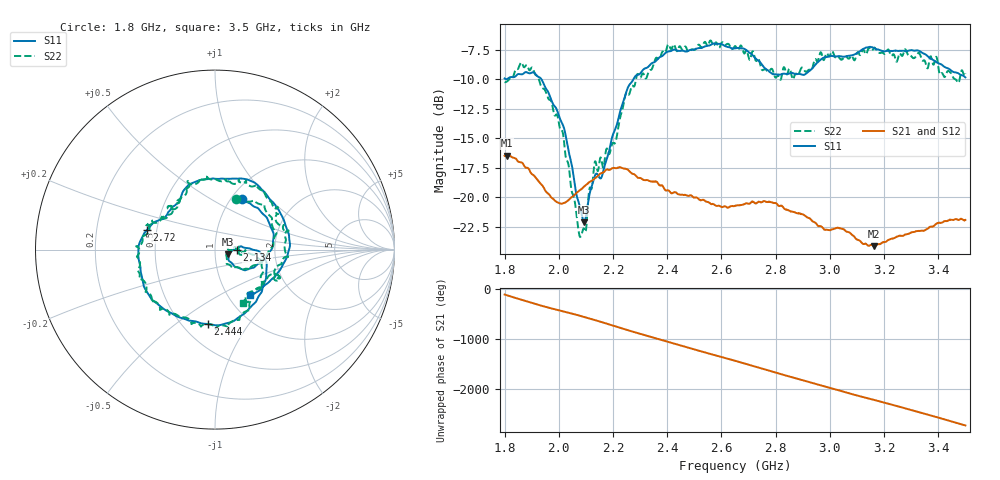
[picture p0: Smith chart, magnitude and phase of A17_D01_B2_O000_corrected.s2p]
! Created with skrf 1.9.0 (http://scikit-rf.org).
# Hz S RI R 50.0
!freq ReS11 ImS11 ReS21 ImS21 ReS12 ImS12 ReS22 ImS22
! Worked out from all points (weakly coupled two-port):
!   1601 points, 1.8 GHz to 3.5 GHz, reference 50 ohm
!   highest |S21| = -16.48 dB at 1.808 GHz (marker M1); lowest = -24.2 dB at 3.162 GHz (marker M2)
!   lowest |S11| = -22.1 dB at 2.093 GHz (marker M3), VSWR 1.17, Z = 57.9 - j3 ohm
!   |S11| at or under -10 dB: 1.806214 GHz to 1.80674 GHz (525.4 kHz wide, 0.0291 % of centre); 1.936 GHz to 2.275 GHz (339.6 MHz wide, 16.1 % of centre)
!   |S22| runs from -23.4 to -6.7 dB; largest |S21 - S12| = 0.0029
!   S11 on the Smith chart (normalised r, x): 1.8 GHz: 1.12, +0.70; 2.134 GHz: 1.28, -0.01; 2.444 GHz: 0.66, -0.66; 2.72 GHz: 0.44, +0.11; 3.5 GHz: 1.26, -0.72
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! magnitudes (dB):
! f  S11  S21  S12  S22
! 1.8 GHz  -9.9  -16.5  -16.5  -10.2
! 1.808 GHz  -10.0  -16.5  -16.5  -10.2
! 1.88 GHz  -9.4  -17.5  -17.5  -8.8
! 1.968 GHz  -11.5  -19.9  -19.9  -11.8
! 2.02 GHz  -14.2  -20.5  -20.5  -15.5
! 2.072 GHz  -20.4  -19.5  -19.6  -22.7
! 2.084 GHz  -21.4  -19.3  -19.3  -23.2
! 2.093 GHz  -22.1  -19.1  -19.2  -22.7
! 2.134 GHz  -18.2  -18.4  -18.4  -17.0
! 2.159 GHz  -18.2  -18.0  -17.9  -17.1
! 2.208 GHz  -14.2  -17.6  -17.5  -15.4
! 2.258 GHz  -10.6  -17.7  -17.7  -11.3
! 2.367 GHz  -8.2  -18.9  -18.8  -8.3
! 2.444 GHz  -7.6  -19.8  -19.8  -7.3
! 2.65 GHz  -7.4  -20.7  -20.7  -7.2
! 2.72 GHz  -8.1  -20.5  -20.4  -7.9
! 2.812 GHz  -9.6  -20.8  -20.6  -9.8
! 2.934 GHz  -9.1  -22.0  -22.0  -9.2
! 3.162 GHz  -7.3  -24.2  -24.1  -7.4
! 3.217 GHz  -7.6  -23.6  -23.6  -7.5
! 3.328 GHz  -7.6  -22.9  -22.9  -7.8
! 3.5 GHz  -9.8  -21.9  -21.9  -9.5
